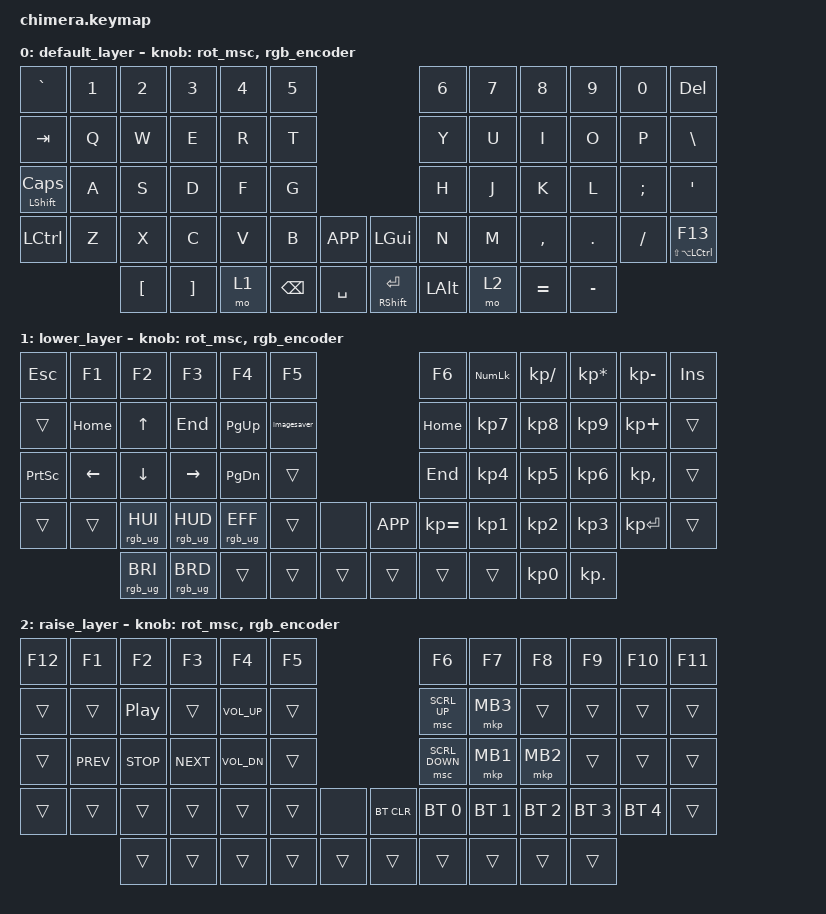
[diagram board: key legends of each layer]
/*
 * Copyright (c) 2020 The ZMK Contributors
 *
 * SPDX-License-Identifier: MIT
 */

#include <behaviors.dtsi>
#include <dt-bindings/zmk/keys.h>
#include <dt-bindings/zmk/bt.h>
#include <dt-bindings/zmk/rgb.h>
#include <dt-bindings/zmk/mouse.h>
#include <behaviors/mouse_keys.dtsi>

#define ZMK_MOUSE_DEFAULT_MOVE_VAL 1500  // 600
#define ZMK_MOUSE_DEFAULT_SCRL_VAL 10    // 10

&msc {
    acceleration-exponent = <1>;      // 1
    time-to-max-speed-ms = <200>;     // 300
    delay-ms = <0>;                   // 0
};

&mmv {
    acceleration-exponent = <1>;      // 1
    time-to-max-speed-ms = <300>;     // 300
    delay-ms = <0>;                   // 0
};

&led_strip {
    chain-length = <31>;
};

/ {
    macros {
        clipitpoggers: clipitpoggers {
            label = "clipitpoggers";
            compatible = "zmk,behavior-macro";
            #wait-ms = <10>;
            #binding-cells = <0>;
            bindings
                = <&macro_press &kp LALT>
                , <&macro_tap &kp C>
                , <&macro_release &kp LALT>
                ;
        };
        imagesaver: imagesaver {
            label = "imagesaver";
            compatible = "zmk,behavior-macro";
            #wait-ms = <500>;
            #binding-cells = <0>;
            bindings
                = <&macro_wait_time 250>
                , <&macro_tap &mkp RCLK>
                , <&macro_tap &kp V>
                , <&macro_pause_for_release>
                , <&macro_tap &kp RET>
                , <&macro_tap &mkp LCLK>
                ;
        };
    };

    behaviors {
        rot_mmv: sensor_rotate_mmv {
            compatible = "zmk,behavior-sensor-rotate-var";
            #sensor-binding-cells = <2>;
            bindings = <&mmv>, <&mmv>;
        };
        rot_msc: sensor_rotate_msc {
            compatible = "zmk,behavior-sensor-rotate";
            #sensor-binding-cells = <0>;
            tap-ms = <20>;
            bindings = <&msc SCRL_UP>, <&msc SCRL_DOWN>;
        };
        rgb_encoder: rgb_encoder {
            compatible = "zmk,behavior-sensor-rotate";
            #sensor-binding-cells = <0>;
            bindings = <&rgb_ug RGB_BRI>, <&rgb_ug RGB_BRD>;
        };
    };
    keymap {
        compatible = "zmk,keymap";

        default_layer {
// ------------------------------------------------------------------------------------------------------------
// |  `    |  1  |  2  |  3   |  4   |  5   |                   |  6   |  7    |  8    |  9   |   0   |  DEL  |
// |  TAB  |  Q  |  W  |  E   |  R   |  T   |                   |  Y   |  U    |  I    |  O   |   P   |   \   |
// | CAPS  |  A  |  S  |  D   |  F   |  G   |                   |  H   |  J    |  K    |  L   |   ;   |   '   |
// | CTRL  |  Z  |  X  |  C   |  V   |  B   |   MENU |  |  GUI  |  N   |  M    |  ,    |  .   |   /   |  F13  |
//               |  [  |  ]   | LOWER| BKSPC|  SPACE |  | ENTER | LALT | RAISE |  =    |  -   |
            bindings = <
&kp GRAVE &kp N1 &kp N2   &kp N3   &kp N4    &kp N5                      &kp N6 &kp N7    &kp N8    &kp N9   &kp N0   &kp DEL
&kp TAB   &kp Q  &kp W    &kp E    &kp R     &kp T                       &kp Y  &kp U     &kp I     &kp O    &kp P    &kp BSLH
&mt LSHFT CAPS  &kp A  &kp S    &kp D    &kp F     &kp G                       &kp H  &kp J     &kp K     &kp L    &kp SEMI &kp SQT
&kp LCTRL &kp Z  &kp X    &kp C    &kp V     &kp B  &kp K_APP     &kp LGUI  &kp N  &kp M     &kp COMMA &kp DOT  &kp FSLH &mt LS(LA(LCTRL)) F13
                &kp LBKT &kp RBKT &mo 1     &kp BSPC &kp SPACE &mt RSHFT RET &kp LALT  &mo 2 &kp EQUAL  &kp MINUS
            >;

            sensor-bindings = <&rot_msc &rgb_encoder>;
        };

        lower_layer {
// TODO: Some binds are waiting for shifted keycode support.
// ------------------------------------------------------------------------------------------------------------
// |  ESC  |  F1 |  F2 |  F3  |  F4  |  F5  |                   |  F6  | NUMLCK|   /   |   *  |   -   |   INS |
// |       |HOME |  UP |  END | PGUP |imgsav|                   | HOME |  7    |   8   |   9  |   +   |       |
// | PSCRN |LEFT | DOWN| RIGHT| PGDN |      |                   | END  |  4    |   5   |   6  |   ,   |       |
// |       |     |RGBHU| RGBHD|RGBEFF|      |        |  | MENU  |  =   |  1    |   2   |   3  | ENTER |       |
//               |RGBUP|RGBDN |      |      |        |  |       |      |       |   0   |   .  |
            bindings = <
&kp ESC   &kp F1   &kp F2    &kp F3      &kp F4    &kp F5                       &kp F6       &kp KP_NLCK &kp KP_SLASH &kp KP_MULTIPLY   &kp KP_MINUS  &kp INS 
&trans    &kp HOME &kp UP    &kp END   &kp PG_UP   &imagesaver                       &kp HOME     &kp KP_N7 &kp KP_N8    &kp KP_N9         &kp KP_PLUS   &trans
&kp PSCRN &kp LEFT &kp DOWN  &kp RIGHT &kp PG_DN   &trans                       &kp END      &kp KP_N4 &kp KP_N5    &kp KP_N6         &kp KP_COMMA  &trans
&trans &trans &rgb_ug RGB_HUI &rgb_ug RGB_HUD &rgb_ug RGB_EFF &trans    &none    &kp K_APP &kp KP_EQUAL &kp KP_N1 &kp KP_N2    &kp KP_N3         &kp KP_ENTER  &trans
                &rgb_ug RGB_BRI &rgb_ug RGB_BRD      &trans    &trans    &trans   &trans    &trans       &trans    &kp KP_N0    &kp KP_DOT 
            >;

            sensor-bindings = <&rot_msc &rgb_encoder>;
        };

        raise_layer {
// ------------------------------------------------------------------------------------------------------------
// | F12 | F1   | F2   |  F3   |  F4   |  F5  |                |  F6  |  F7  |  F8   |  F9  |  F10  |  F11  |
// |     |      | PLAY |       |VOL_UP |      |                |SCRLUP| MCLK |       |      |       |       |
// |     |PREV  | STOP | NEXT  |VOL_DN |      |                |SCRLDN| LCLK | RCLK  |      |       |       |
// |     |      |      |       |       |      |      |  |BT_CLR|BT_SEL|BT_SEL|BT_SEL |BT_SEL|BT_SEL |       |
//              |      |       |       |      |      |  |      |      |      |       |      |
            bindings = <
&kp F12    &kp F1       &kp F2       &kp F3       &kp F4       &kp F5                  &kp F6    &kp F7    &kp F8   &kp F9    &kp F10  &kp F11
&trans     &trans       &kp C_PP     &trans       &kp C_VOL_UP &trans                  &msc SCRL_UP   &mkp MB3      &trans    &trans       &trans   &trans
&trans     &kp C_PREV   &kp C_STOP   &kp C_NEXT   &kp C_VOL_DN &trans                  &msc SCRL_DOWN &mkp MB1 &mkp MB2  &trans &trans   &trans
&trans     &trans       &trans       &trans       &trans       &trans  &none    &bt BT_CLR &bt BT_SEL 0   &bt BT_SEL 1    &bt BT_SEL 2   &bt BT_SEL 3    &bt BT_SEL 4   &trans
                        &trans       &trans       &trans       &trans  &trans   &trans  &trans    &trans    &trans   &trans
            >;

            sensor-bindings = <&rot_msc &rgb_encoder>;
        };
    };
};
